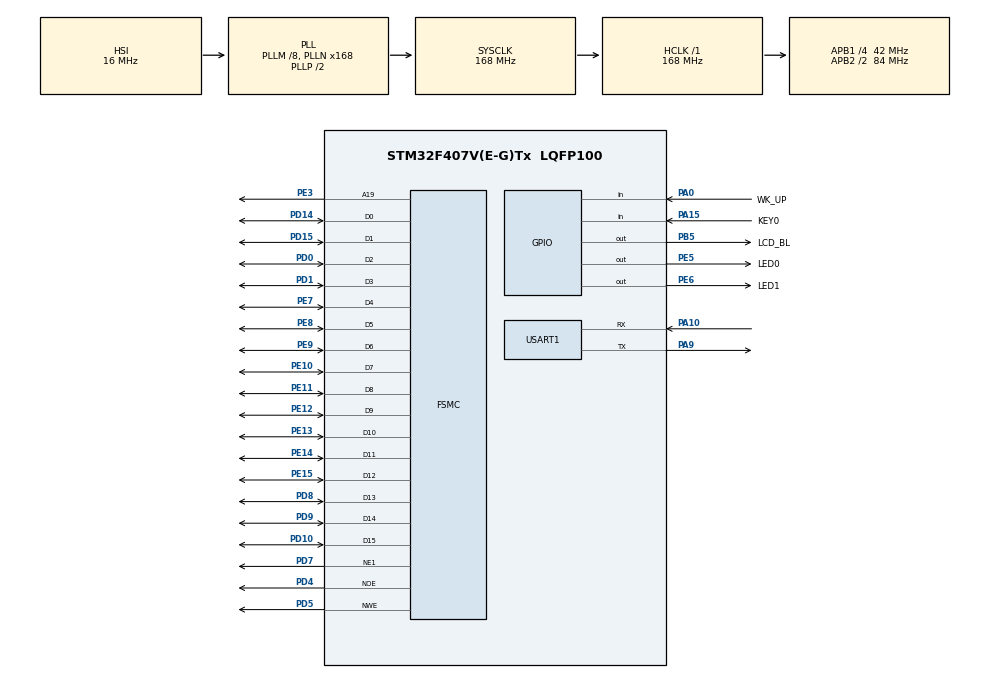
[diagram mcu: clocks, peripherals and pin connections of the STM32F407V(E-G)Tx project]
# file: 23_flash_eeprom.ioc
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FSMC.AddressSetupTime1=15
FSMC.BusTurnAroundDuration1=0
FSMC.DataSetupTime1=60
FSMC.ExtendedAddressSetupTime1=9
FSMC.ExtendedDataSetupTime1=9
FSMC.ExtendedMode1=FSMC_EXTENDED_MODE_ENABLE
Mcu.Family=STM32F4
Mcu.Name=STM32F407V(E-G)Tx
Mcu.Package=LQFP100
NVIC.PriorityGroup=NVIC_PRIORITYGROUP_2
NVIC.TIM4_IRQn=true\:2\:1\:true\:false\:true\:true\:true\:true
NVIC.USART1_IRQn=true\:2\:2\:true\:false\:true\:true\:true\:true
PA0-WKUP.GPIO_Label=WK_UP
PA0-WKUP.GPIO_PuPd=GPIO_PULLDOWN
PA0-WKUP.Signal=GPIO_Input
PA10.Mode=Asynchronous
PA10.Signal=USART1_RX
PA13.Mode=Serial_Wire
PA13.Signal=SYS_JTMS-SWDIO
PA14.Mode=Serial_Wire
PA14.Signal=SYS_JTCK-SWCLK
PA15.GPIO_Label=KEY0
PA15.GPIO_PuPd=GPIO_PULLDOWN
PA15.Signal=GPIO_Input
PA9.Mode=Asynchronous
PA9.Signal=USART1_TX
PB5.GPIO_Label=LCD_BL
PB5.GPIO_PuPd=GPIO_PULLUP
PB5.GPIO_Speed=GPIO_SPEED_FREQ_HIGH
PB5.PinState=GPIO_PIN_SET
PB5.Signal=GPIO_Output
PC14-OSC32_IN.Mode=LSE-External-Oscillator
PC14-OSC32_IN.Signal=RCC_OSC32_IN
PC15-OSC32_OUT.Mode=LSE-External-Oscillator
PC15-OSC32_OUT.Signal=RCC_OSC32_OUT
PD0.Mode=16b-d1
PD0.Signal=FSMC_D2
PD1.Mode=16b-d1
PD1.Signal=FSMC_D3
PD10.Mode=16b-d1
PD10.Signal=FSMC_D15
PD14.Mode=16b-d1
PD14.Signal=FSMC_D0
PD15.Mode=16b-d1
PD15.Signal=FSMC_D1
PD4.Mode=Lcd1
PD4.Signal=FSMC_NOE
PD5.Mode=Lcd1
PD5.Signal=FSMC_NWE
PD7.Mode=NorPsramChipSelect1_1
PD7.Signal=FSMC_NE1
PD8.Mode=16b-d1
PD8.Signal=FSMC_D13
PD9.Mode=16b-d1
PD9.Signal=FSMC_D14
PE10.Mode=16b-d1
PE10.Signal=FSMC_D7
PE11.Mode=16b-d1
PE11.Signal=FSMC_D8
PE12.Mode=16b-d1
PE12.Signal=FSMC_D9
PE13.Mode=16b-d1
PE13.Signal=FSMC_D10
PE14.Mode=16b-d1
PE14.Signal=FSMC_D11
PE15.Mode=16b-d1
PE15.Signal=FSMC_D12
PE3.Mode=A19_1
PE3.Signal=FSMC_A19
PE5.GPIO_Label=LED0
PE5.GPIO_PuPd=GPIO_PULLUP
PE5.GPIO_Speed=GPIO_SPEED_FREQ_HIGH
PE5.PinState=GPIO_PIN_SET
PE5.Signal=GPIO_Output
PE6.GPIO_Label=LED1
PE6.GPIO_PuPd=GPIO_PULLUP
PE6.GPIO_Speed=GPIO_SPEED_FREQ_HIGH
PE6.PinState=GPIO_PIN_SET
PE6.Signal=GPIO_Output
PE7.Mode=16b-d1
PE7.Signal=FSMC_D4
PE8.Mode=16b-d1
PE8.Signal=FSMC_D5
PE9.Mode=16b-d1
PE9.Signal=FSMC_D6
PH0-OSC_IN.Mode=HSE-External-Oscillator
PH0-OSC_IN.Signal=RCC_OSC_IN
PH1-OSC_OUT.Mode=HSE-External-Oscillator
PH1-OSC_OUT.Signal=RCC_OSC_OUT
ProjectManager.HeapSize=0x200
ProjectManager.StackSize=0x400
ProjectManager.TargetToolchain=STM32CubeIDE
RCC.48MHZClocksFreq_Value=84000000
RCC.AHBFreq_Value=168000000
RCC.APB1CLKDivider=RCC_HCLK_DIV4
RCC.APB1Freq_Value=42000000
RCC.APB1TimFreq_Value=84000000
RCC.APB2CLKDivider=RCC_HCLK_DIV2
RCC.APB2Freq_Value=84000000
RCC.APB2TimFreq_Value=168000000
RCC.CortexFreq_Value=168000000
RCC.HCLKFreq_Value=168000000
RCC.HSE_VALUE=25000000
RCC.HSI_VALUE=16000000
RCC.PLLM=8
RCC.PLLN=168
RCC.SYSCLKFreq_VALUE=168000000
RCC.SYSCLKSource=RCC_SYSCLKSOURCE_PLLCLK
RCC.VCOOutputFreq_Value=336000000
TIM4.AutoReloadPreload=TIM_AUTORELOAD_PRELOAD_ENABLE
TIM4.Period=1000
TIM4.Prescaler=8400-1
USART1.VirtualMode=VM_ASYNC
VP_TIM4_VS_ClockSourceINT.Mode=Internal
board=custom

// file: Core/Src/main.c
/**
 ****************************************************************************************************
 * @file        main.c
 * @author      ALIENTEK
 * @brief       flash_eeprom code
 * @license     Copyright (C) 2012-2024, ALIENTEK
 ****************************************************************************************************
 * @attention
 *
 * platform     : ALIENTEK M100-STM32F407 board
 * website      : www.alientek.com
 * forum        : www.openedv.com/forum.php
 *
 * change logs  :
 * version      data         notes
 * V1.0         20240409     the first version
 *
 ****************************************************************************************************
 */

 /* USER CODE BEGIN Header */

/* USER CODE END Header */
#include "main.h"
#include "tim.h"
#include "usart.h"
#include "gpio.h"
#include "fsmc.h"

/* USER CODE BEGIN Includes */
#include "../../ATK_Middlewares/USMART/usmart.h"
#include "../../BSP/LED/led.h"
#include "../../BSP/KEY/key.h"
#include "../../BSP/LCD/lcd.h"
#include "../../BSP/STMFLASH/stmflash.h"
/* USER CODE END Includes */

/* USER CODE BEGIN PTD */
static const uint8_t g_text_buf[] = {"STM32 FLASH TEST"};

#define TEXT_SIZE (((sizeof(g_text_buf) >> 2) << 2) + 4)
/* USER CODE END PTD */

/* USER CODE BEGIN PD */
/**
 * @brief   Displays information about the experiment
 * @param   None
 * @retval  None
 */
void stm32f407vg_show_mesg(void)
{
	/* The serial port outputs the experimental information */
	printf("\n");
	printf("********************************\r\n");
	printf("STM32F407\r\n");
	printf("STMFLASH Test\r\n");
	printf("ATOM@ALIENTEK\r\n");
	printf("********************************\r\n");
	printf("\r\n");
}
/* USER CODE END PD */

void SystemClock_Config(void);

int main(void)
{
  /* USER CODE BEGIN 1 */
  uint8_t t = 0;
  uint8_t key;
  uint8_t data[TEXT_SIZE];
  uint8_t wdata[TEXT_SIZE] = {0};
  uint8_t index;
  /* USER CODE END 1 */

  /* MCU Configuration--------------------------------------------------------*/

  /* Reset of all peripherals, Initializes the Flash interface and the Systick. */
  HAL_Init();

  /* Configure the system clock */
  SystemClock_Config();

  /* Initialize all configured peripherals */
  MX_GPIO_Init();
  MX_USART1_UART_Init();
  MX_FSMC_Init();
  MX_TIM4_Init();
  /* USER CODE BEGIN 2 */
  lcd_init();                                         /* Initialize LCD */
  stm32f407vg_show_mesg();
  lcd_show_string(30, 50, 200, 16, 16, "STM32", RED);
  lcd_show_string(30, 70, 200, 16, 16, "STMFLASH TEST", RED);
  lcd_show_string(30, 90, 200, 16, 16, "ATOM@ALIENTEK", RED);

  lcd_show_string(30, 110, 200, 16, 16, "WK_UP:Write KEY0:Read", RED);

  for (index=0; index<sizeof(g_text_buf); index++)
  {
     wdata[index] = g_text_buf[index];
  }
  /* USER CODE END 2 */

  /* Infinite loop */
  /* USER CODE BEGIN WHILE */
  while (1)
  {
	  key = key_scan(0);
	  if (key == WKUP_PRES)
	  {
	  	  /* Writing data to Flash */
	  	  lcd_fill(0, 130, 239, 319, WHITE);
	  	  lcd_show_string(30, 130, 200, 16, 16, "Start Write Flash....", BLUE);
	  	  stmflash_write(FLASH_END + 1 - TEXT_SIZE, (uint32_t *)wdata, TEXT_SIZE / sizeof(uint32_t));
	  	  lcd_show_string(30, 130, 200, 16, 16, "Flash Write Finished!", BLUE);
	  }
	  else if (key == KEY0_PRES)
	  {
	  	   /* Read data from Flash */
	  	   lcd_show_string(30, 130, 200, 16, 16, "Start Read Flash.... ", BLUE);
	  	   stmflash_read(FLASH_END + 1 - TEXT_SIZE, (uint32_t *)data, TEXT_SIZE / sizeof(uint32_t));
	  	   lcd_show_string(30, 130, 200, 16, 16, "The Data Readed Is:  ", BLUE);
	  	   lcd_show_string(30, 150, 200, 16, 16, (char *)data, BLUE);
	  }
	  if (++t == 20)
	  {
	  	  t = 0;
	  	  LED0_TOGGLE();        /* flashing LED0 indicates that the system is running */
	  }

	  HAL_Delay(10);        /* delay 10ms */
    /* USER CODE END WHILE */

  }
}

void SystemClock_Config(void)
{
  RCC_OscInitTypeDef RCC_OscInitStruct = {0};
  RCC_ClkInitTypeDef RCC_ClkInitStruct = {0};

  /** Configure the main internal regulator output voltage
  */
  __HAL_RCC_PWR_CLK_ENABLE();
  __HAL_PWR_VOLTAGESCALING_CONFIG(PWR_REGULATOR_VOLTAGE_SCALE1);

  /** Initializes the RCC Oscillators according to the specified parameters
  * in the RCC_OscInitTypeDef structure.
  */
  RCC_OscInitStruct.OscillatorType = RCC_OSCILLATORTYPE_HSI;
  RCC_OscInitStruct.HSIState = RCC_HSI_ON;
  RCC_OscInitStruct.HSICalibrationValue = RCC_HSICALIBRATION_DEFAULT;
  RCC_OscInitStruct.PLL.PLLState = RCC_PLL_ON;
  RCC_OscInitStruct.PLL.PLLSource = RCC_PLLSOURCE_HSI;
  RCC_OscInitStruct.PLL.PLLM = 8;
  RCC_OscInitStruct.PLL.PLLN = 168;
  RCC_OscInitStruct.PLL.PLLP = RCC_PLLP_DIV2;
  RCC_OscInitStruct.PLL.PLLQ = 4;
  if (HAL_RCC_OscConfig(&RCC_OscInitStruct) != HAL_OK)
  {
    Error_Handler();
  }

  /** Initializes the CPU, AHB and APB buses clocks
  */
  RCC_ClkInitStruct.ClockType = RCC_CLOCKTYPE_HCLK|RCC_CLOCKTYPE_SYSCLK
                              |RCC_CLOCKTYPE_PCLK1|RCC_CLOCKTYPE_PCLK2;
  RCC_ClkInitStruct.SYSCLKSource = RCC_SYSCLKSOURCE_PLLCLK;
  RCC_ClkInitStruct.AHBCLKDivider = RCC_SYSCLK_DIV1;
  RCC_ClkInitStruct.APB1CLKDivider = RCC_HCLK_DIV4;
  RCC_ClkInitStruct.APB2CLKDivider = RCC_HCLK_DIV2;

  if (HAL_RCC_ClockConfig(&RCC_ClkInitStruct, FLASH_LATENCY_5) != HAL_OK)
  {
    Error_Handler();
  }
}

void Error_Handler(void)
{
  __disable_irq();
  while (1)
  {
  }
}
